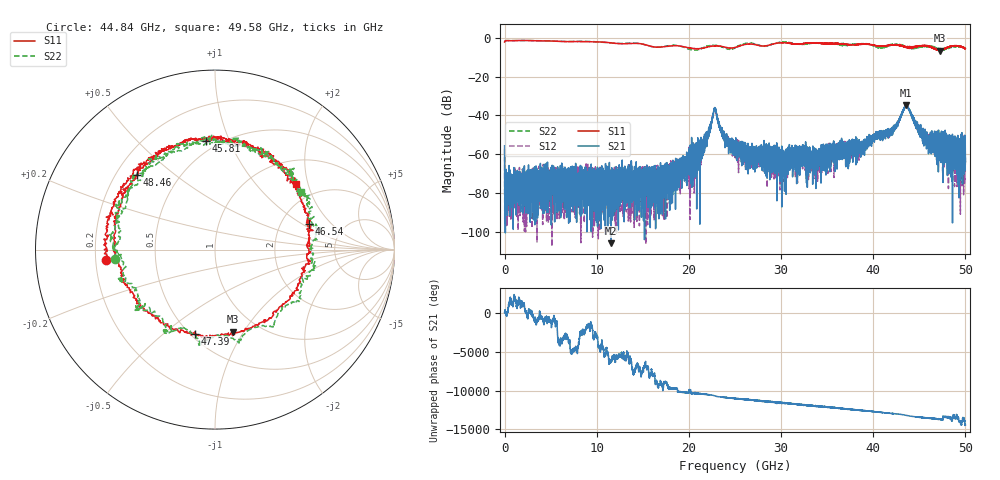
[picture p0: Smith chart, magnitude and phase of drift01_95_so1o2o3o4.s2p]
!Created with skrf (http://scikit-rf.org).
# Hz S RI R 50.0
!freq ReS11 ImS11 ReS21 ImS21 ReS12 ImS12 ReS22 ImS22
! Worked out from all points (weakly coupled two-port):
!   10001 points, 300 kHz to 50 GHz, reference 50 ohm
!   highest |S21| = -34.59 dB at 43.56 GHz (marker M1); lowest = -105.9 dB at 11.57 GHz (marker M2)
!   lowest |S11| = -6.6 dB at 47.22 GHz (marker M3), VSWR 2.76, Z = 38.3 - j44.9 ohm
!   |S11| at or under -10 dB: nowhere
!   |S22| runs from -6.6 to -1.4 dB; largest |S21 - S12| = 0.0039
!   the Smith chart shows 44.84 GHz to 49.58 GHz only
!   S11 on the Smith chart (normalised r, x): 44.84 GHz: 0.24, -0.04; 45.81 GHz: 0.43, +0.83; 46.54 GHz: 2.85, +1.16; 47.39 GHz: 0.53, -0.64; 48.46 GHz: 0.28, +0.37; 49.58 GHz: 1.52, +1.68
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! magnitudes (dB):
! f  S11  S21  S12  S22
! 300 kHz  -2.1  -55.7  -57.2  -2.1
! 260.3 MHz  -1.4  -79.9  -79.8  -1.4
! 8.335 GHz  -1.9  -69.1  -74.4  -1.8
! 11.57 GHz  -2.6  -105.9  -71.7  -2.6
! 16.67 GHz  -4.8  -78.4  -80.1  -4.8
! 20.67 GHz  -5.6  -69.6  -55.9  -6.3
! 21.76 GHz  -5.0  -52.3  -53.2  -4.8
! 22.8 GHz  -4.3  -36.7  -36.3  -4.0
! 23.81 GHz  -4.7  -50.2  -50.1  -5.1
! 25 GHz  -5.0  -57.4  -54.2  -5.1
! 30 GHz  -2.6  -62.9  -60.1  -2.3
! 33.34 GHz  -2.6  -63.5  -60.5  -2.6
! 41.67 GHz  -3.9  -49.2  -49.7  -4.3
! 43.56 GHz  -4.9  -34.6  -35.3  -4.5
! 44.84 GHz  -4.3  -45.1  -47.1  -5.1
! 45.81 GHz  -4.3  -52.5  -50.4  -4.4
! 46.54 GHz  -5.3  -55.6  -53.2  -4.7
! 47.22 GHz  -6.6  -51.0  -54.8  -5.7
! 47.39 GHz  -6.3  -52.7  -60.8  -5.8
! 48.46 GHz  -4.4  -61.8  -53.9  -4.9
! 49.58 GHz  -4.7  -55.8  -56.5  -4.8
! 50 GHz  -5.6  -63.8  -60.8  -5.3
